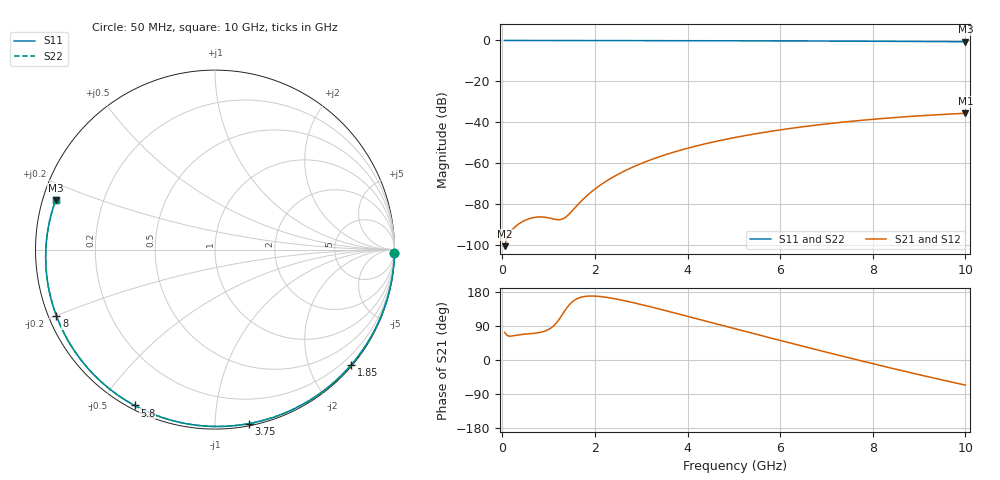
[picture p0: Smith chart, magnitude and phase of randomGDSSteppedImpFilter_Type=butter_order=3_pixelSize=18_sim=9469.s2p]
! freq	dB(S11)	phase(S11)	dB(S12)	phase(S12)
!  dB(S21)	phase(S21)	dB(S22)	phase(S22)
!S-par simulation data
#  GHz  S  DB  R 50
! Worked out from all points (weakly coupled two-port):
!   200 points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, 50 MHz to 10 GHz, reference 50 ohm
!   highest |S21| = -35.58 dB at 10 GHz (marker M1); lowest = -100.5 dB at 50 MHz (marker M2)
!   lowest |S11| = -0.6 dB at 10 GHz (marker M3), VSWR 27.32, Z = 1.87 + j7.6 ohm
!   |S11| at or under -10 dB: nowhere
!   |S22| runs from -0.6 to 0.0 dB; largest |S21 - S12| = 0
!   S11 on the Smith chart (normalised r, x): 50 MHz: open; 1.85 GHz: 0.02, -2.73; 3.75 GHz: 0.02, -1.22; 5.8 GHz: 0.02, -0.61; 8 GHz: 0.02, -0.20; 10 GHz: 0.04, +0.15
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0.05  -0.00 -1.1  -100.46 72.9  -100.46 72.9  -0.00 -1.1
0.4  -0.01 -8.9  -88.93 67.1  -88.93 67.1  -0.01 -8.9
0.8  -0.02 -17.7  -86.20 72.5  -86.20 72.5  -0.02 -17.7
1.6  -0.04 -34.9  -80.95 160.8  -80.95 160.8  -0.04 -34.9
1.65  -0.05 -36.0  -79.74 163.6  -79.74 163.6  -0.05 -36.0
1.75  -0.05 -38.1  -77.45 167.1  -77.45 167.1  -0.05 -38.1
1.85  -0.05 -40.2  -75.36 168.6  -75.36 168.6  -0.05 -40.3
2.15  -0.06 -46.5  -70.11 167.0  -70.11 167.0  -0.06 -46.6
2.5  -0.07 -53.8  -65.35 160.0  -65.35 160.0  -0.07 -53.8
2.9  -0.08 -62.0  -61.03 149.3  -61.03 149.3  -0.08 -62.0
3.4  -0.09 -72.0  -56.73 134.3  -56.73 134.3  -0.10 -72.0
3.75  -0.11 -78.9  -54.23 123.3  -54.23 123.3  -0.11 -78.9
4.4  -0.13 -91.4  -50.38 102.5  -50.38 102.5  -0.13 -91.4
5.05  -0.16 -103.5  -47.27 81.7  -47.27 81.7  -0.16 -103.6
5.8  -0.20 -117.3  -44.36 57.9  -44.36 57.9  -0.20 -117.3
6.7  -0.26 -133.6  -41.55 29.8  -41.55 29.8  -0.26 -133.6
7.35  -0.31 -145.3  -39.90 9.9  -39.90 9.9  -0.31 -145.4
8  -0.38 -157.3  -38.51 -9.7  -38.51 -9.7  -0.38 -157.3
8.35  -0.41 -163.9  -37.86 -20.0  -37.86 -20.0  -0.41 -163.9
9.2  -0.52 179.5  -36.54 -44.4  -36.54 -44.4  -0.52 179.5
9.6  -0.57 171.3  -36.03 -55.5  -36.03 -55.5  -0.57 171.3
10  -0.64 162.7  -35.58 -66.2  -35.58 -66.2  -0.64 162.7
